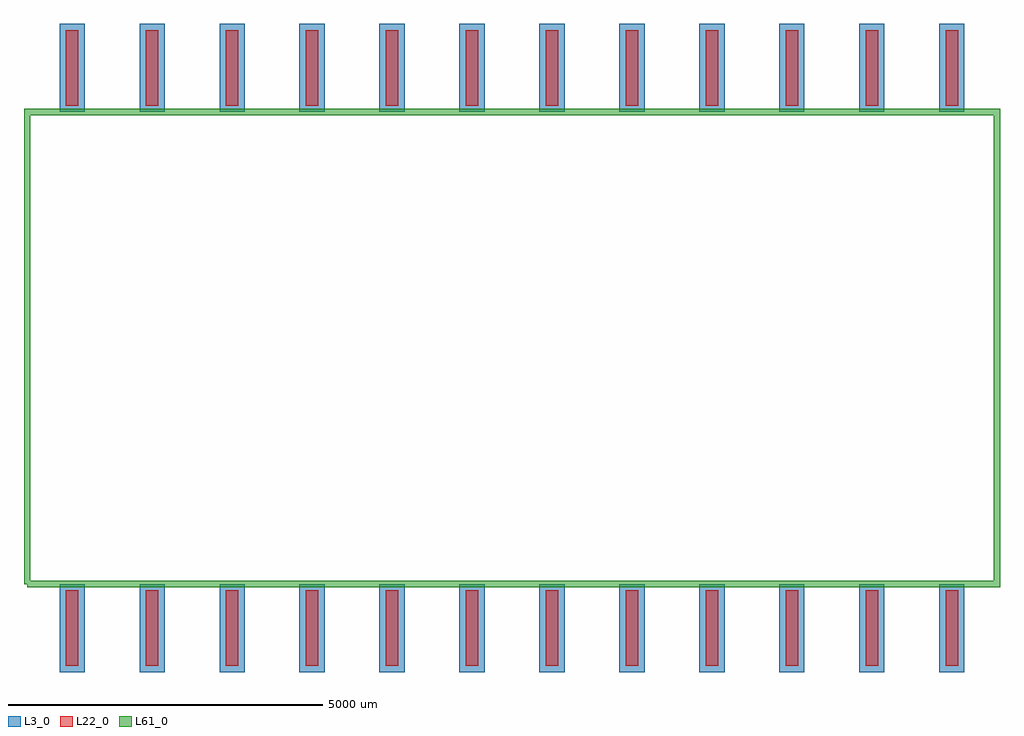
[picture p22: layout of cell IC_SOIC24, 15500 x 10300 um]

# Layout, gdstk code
import gdstk
lib = gdstk.Library(unit=1e-6, precision=1e-09)
def R(c, l, rs):  # rectangles x0, y0, x1, y1
    for r in rs: c.add(gdstk.rectangle(r[:2], r[2:], *l))
def A(c, l, x, y, w, h, nx, ny, dx, dy):  # array of equal rectangles
    R(c, l, [(x+i*dx, y+j*dy, x+i*dx+w, y+j*dy+h) for i in range(nx) for j in range(ny)])
L3_0 = (3, 0)
L22_0 = (22, 0)
L61_0 = (61, 0)

ic_soic24 = lib.new_cell('IC_SOIC24')
A(ic_soic24, L3_0, -7185, -5150, 400, 1400, 12, 2, 1270, 8900)
A(ic_soic24, L22_0, -7085, -5050, 200, 1200, 12, 2, 1270, 8900)
ic_soic24.add(gdstk.FlexPath([(-7700,-3750),(7700,-3750),(7700,3750),(-7700,3750),(-7700,-3750)], 100, ends="flush", simple_path=True, layer=61, datatype=0))  # L61_0

lib.write_gds('IC_SOIC24.gds')
